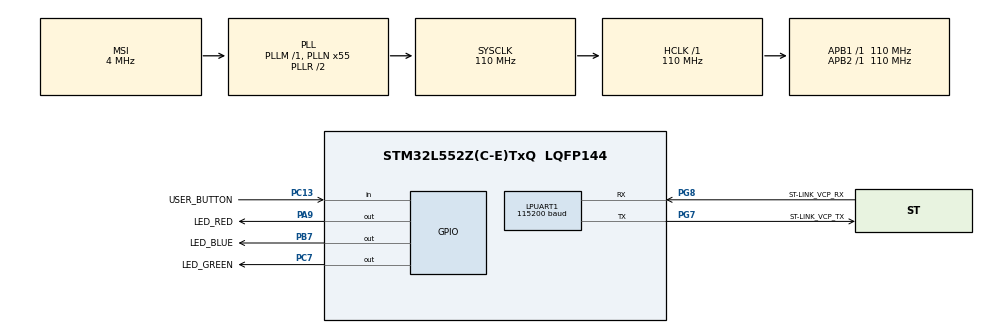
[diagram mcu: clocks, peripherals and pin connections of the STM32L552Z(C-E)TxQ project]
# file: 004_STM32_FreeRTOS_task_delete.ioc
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LPUART1.BaudRate=115200
Mcu.Family=STM32L5
Mcu.Name=STM32L552Z(C-E)TxQ
Mcu.Package=LQFP144
Mcu.TrustZone=disable
NVIC.PriorityGroup=NVIC_PRIORITYGROUP_3
PA13\ (JTMS/SWDIO).Mode=Trace_Asynchronous_SW
PA13\ (JTMS/SWDIO).Signal=DEBUG_JTMS-SWDIO
PA14\ (JTCK/SWCLK).Mode=Trace_Asynchronous_SW
PA14\ (JTCK/SWCLK).Signal=DEBUG_JTCK-SWCLK
PA9.GPIO_Label=LED_RED
PA9.Signal=GPIO_Output
PB3\ (JTDO/TRACESWO).Mode=Trace_Asynchronous_SW
PB3\ (JTDO/TRACESWO).Signal=DEBUG_JTDO-SWO
PB7.GPIO_Label=LED_BLUE
PB7.Signal=GPIO_Output
PC13.GPIO_Label=USER_BUTTON
PC13.Signal=GPIO_Input
PC14-OSC32_IN\ (PC14).Mode=LSE-External-Oscillator
PC14-OSC32_IN\ (PC14).Signal=RCC_OSC32_IN
PC15-OSC32_OUT\ (PC15).Mode=LSE-External-Oscillator
PC15-OSC32_OUT\ (PC15).Signal=RCC_OSC32_OUT
PC7.GPIO_Label=LED_GREEN
PC7.PinState=GPIO_PIN_RESET
PC7.Signal=GPIO_Output
PG7.GPIO_Label=ST-LINK_VCP_TX
PG7.Mode=Asynchronous
PG7.Signal=LPUART1_TX
PG8.GPIO_Label=ST-LINK_VCP_RX
PG8.Mode=Asynchronous
PG8.Signal=LPUART1_RX
ProjectManager.HeapSize=0x200
ProjectManager.StackSize=0x400
ProjectManager.TargetToolchain=STM32CubeIDE
RCC.ADCCLockSelection=RCC_ADCCLKSOURCE_SYSCLK
RCC.ADCFreq_Value=110000000
RCC.AHBFreq_Value=110000000
RCC.APB1Freq_Value=110000000
RCC.APB1TimFreq_Value=110000000
RCC.APB2Freq_Value=110000000
RCC.APB2TimFreq_Value=110000000
RCC.CK48CLockSelection=RCC_USBCLKSOURCE_HSI48
RCC.CortexFreq_Value=110000000
RCC.HCLKFreq_Value=110000000
RCC.HSE_VALUE=8000000
RCC.HSI48_VALUE=48000000
RCC.HSI_VALUE=16000000
RCC.MSI_VALUE=4000000
RCC.PLLN=55
RCC.PLLSAI1N=24
RCC.RTCClockSelection=RCC_RTCCLKSOURCE_LSE
RCC.SYSCLKFreq_VALUE=110000000
RCC.SYSCLKSource=RCC_SYSCLKSOURCE_PLLCLK
RCC.USBFreq_Value=48000000
RCC.VCOOutputFreq_Value=220000000
VP_PWR_VS_SECSignals.Mode=Security/Privilege
board=NUCLEO-L552ZE-Q

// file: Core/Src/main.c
/* USER CODE BEGIN Header */
/**
 ******************************************************************************
 * @file           : main.c
 * @brief          : Example 004: Deleting task in FreeRTOs for NUCLEO-L552.
 *
 * @details TODO
 ******************************************************************************
 * @attention
 *
 * <h2><center>&copy; Copyright 2021 Leandro Medus.
 * All rights reserved.</center></h2>
 *
 * Permission is hereby granted, free of charge, to any person obtaining a copy
 * of this software and associated documentation files (the "Software"), to deal
 * in the Software without restriction, including without limitation the rights
 * to use, copy, modify, merge, publish, distribute, sublicense, and/or sell
 * copies of the Software, and to permit persons to whom the Software is
 * furnished to do so, subject to the following conditions:
 *
 * The above copyright notice and this permission notice shall be included in all
 * copies or substantial portions of the Software.
 *
 * THE SOFTWARE IS PROVIDED "AS IS", WITHOUT WARRANTY OF ANY KIND, EXPRESS OR
 * IMPLIED, INCLUDING BUT NOT LIMITED TO THE WARRANTIES OF MERCHANTABILITY,
 * FITNESS FOR A PARTICULAR PURPOSE AND NONINFRINGEMENT. IN NO EVENT SHALL THE
 * AUTHORS OR COPYRIGHT HOLDERS BE LIABLE FOR ANY CLAIM, DAMAGES OR OTHER
 * LIABILITY, WHETHER IN AN ACTION OF CONTRACT, TORT OR OTHERWISE, ARISING FROM,
 * OUT OF OR IN CONNECTION WITH THE SOFTWARE OR THE USE OR OTHER DEALINGS IN THE
 * SOFTWARE.
 *
 ******************************************************************************
 */

/*
 * Other useful functions:
 *
 *      SEGGER_SYSVIEW_PrintfTarget("Task-1 is yielding");
 *      snprintf(msg, 100, "%s\n", (char*)parameters);
 *      sendString(msg);
 *      traceISR_EXIT_TO_SCHEDULER();
 *      taskYIELD();

 * */

/* USER CODE END Header */
#include "main.h"

/* USER CODE BEGIN Includes */
#include "FreeRTOS.h"
#include "task.h"
#include <stdio.h>
#include <string.h>

#include <stdbool.h>
/* USER CODE END Includes */

/* USER CODE BEGIN PTD */
//#define TRUE                1
//#define FALSE               0

#define AVAILABLE           true
#define NOT_AVAILABLE       false

#define PRESSED             true
#define NOT_PRESSED         false

#define DEBOUNCE_DELAY_MS   10

#define DWT_CTRL    (*(volatile uint32_t*)0xE0001000)       /* Data Watchpoint and Trace Unit */
/* USER CODE END PTD */

UART_HandleTypeDef hlpuart1;

/* USER CODE BEGIN PV */
TaskHandle_t xTask_led_handle;
char usr_msg[250];
uint8_t UART_ACCESS_KEY = AVAILABLE;

uint8_t button_status_flag = NOT_PRESSED;
/* USER CODE END PV */

void SystemClock_Config(void);
static void MX_GPIO_Init(void);
static void MX_LPUART1_UART_Init(void);
/* USER CODE BEGIN PFP */
void sendString(char *msg);
void rtos_delay_ms(uint32_t delay_in_ms);
void rtos_delay_us(uint32_t delay_in_us);

static void vtask_1_handler(void* parameters);
static void vtask_2_handler(void* parameters);
/* USER CODE END PFP */

int main(void)
{
  /* USER CODE BEGIN 1 */
    BaseType_t status;

    char msg_program_init [] = "[info] ---- Example 004: Deleting task in FreeRTOs ----\r\n";

  /* USER CODE END 1 */

  /* MCU Configuration--------------------------------------------------------*/

  /* Reset of all peripherals, Initializes the Flash interface and the Systick. */
  HAL_Init();

  /* Configure the system clock */
  SystemClock_Config();

  /* Initialize all configured peripherals */
  MX_GPIO_Init();
  MX_LPUART1_UART_Init();
  /* USER CODE BEGIN 2 */

    DWT_CTRL |= ( 1 << 0);                  //Enable the CYCCNT counter. (to maintain time stamps in Segger)

    sendString(msg_program_init);

    SEGGER_SYSVIEW_Conf();

    SEGGER_SYSVIEW_Start();                 // Start recording with SEGGER

    status = xTaskCreate(
            vtask_1_handler,               // name of the task handler
            "TASK-1",                     // descriptive name. (Could be NULL)
            configMINIMAL_STACK_SIZE,       // stack space ([words] = 4*words [bytes])
            "LED-Task [info]",              // pvParameters
            1,                              // priority of the task
            &xTask_led_handle);             // handler to the TCB (task controller block)

    configASSERT(status == pdPASS);

    status = xTaskCreate(
            vtask_2_handler,
            "TASK-2",
            configMINIMAL_STACK_SIZE,
            "BUTTON-Task [info]",
            2,
            NULL);

    configASSERT(status == pdPASS);

    vTaskStartScheduler();                  // start the freeRTOS scheduler
  /* USER CODE END 2 */

  /* Infinite loop */
    while (1)
    {

    }
}

void SystemClock_Config(void)
{
  RCC_OscInitTypeDef RCC_OscInitStruct = {0};
  RCC_ClkInitTypeDef RCC_ClkInitStruct = {0};

  /** Configure the main internal regulator output voltage
  */
  if (HAL_PWREx_ControlVoltageScaling(PWR_REGULATOR_VOLTAGE_SCALE0) != HAL_OK)
  {
    Error_Handler();
  }
  /** Initializes the RCC Oscillators according to the specified parameters
  * in the RCC_OscInitTypeDef structure.
  */
  RCC_OscInitStruct.OscillatorType = RCC_OSCILLATORTYPE_MSI;
  RCC_OscInitStruct.MSIState = RCC_MSI_ON;
  RCC_OscInitStruct.MSICalibrationValue = RCC_MSICALIBRATION_DEFAULT;
  RCC_OscInitStruct.MSIClockRange = RCC_MSIRANGE_6;
  RCC_OscInitStruct.PLL.PLLState = RCC_PLL_ON;
  RCC_OscInitStruct.PLL.PLLSource = RCC_PLLSOURCE_MSI;
  RCC_OscInitStruct.PLL.PLLM = 1;
  RCC_OscInitStruct.PLL.PLLN = 55;
  RCC_OscInitStruct.PLL.PLLP = RCC_PLLP_DIV7;
  RCC_OscInitStruct.PLL.PLLQ = RCC_PLLQ_DIV2;
  RCC_OscInitStruct.PLL.PLLR = RCC_PLLR_DIV2;
  if (HAL_RCC_OscConfig(&RCC_OscInitStruct) != HAL_OK)
  {
    Error_Handler();
  }
  /** Initializes the CPU, AHB and APB buses clocks
  */
  RCC_ClkInitStruct.ClockType = RCC_CLOCKTYPE_HCLK|RCC_CLOCKTYPE_SYSCLK
                              |RCC_CLOCKTYPE_PCLK1|RCC_CLOCKTYPE_PCLK2;
  RCC_ClkInitStruct.SYSCLKSource = RCC_SYSCLKSOURCE_PLLCLK;
  RCC_ClkInitStruct.AHBCLKDivider = RCC_SYSCLK_DIV1;
  RCC_ClkInitStruct.APB1CLKDivider = RCC_HCLK_DIV1;
  RCC_ClkInitStruct.APB2CLKDivider = RCC_HCLK_DIV1;

  if (HAL_RCC_ClockConfig(&RCC_ClkInitStruct, FLASH_LATENCY_5) != HAL_OK)
  {
    Error_Handler();
  }
}

static void MX_LPUART1_UART_Init(void)
{

  hlpuart1.Instance = LPUART1;
  hlpuart1.Init.BaudRate = 115200;
  hlpuart1.Init.WordLength = UART_WORDLENGTH_8B;
  hlpuart1.Init.StopBits = UART_STOPBITS_1;
  hlpuart1.Init.Parity = UART_PARITY_NONE;
  hlpuart1.Init.Mode = UART_MODE_TX_RX;
  hlpuart1.Init.HwFlowCtl = UART_HWCONTROL_NONE;
  hlpuart1.Init.OneBitSampling = UART_ONE_BIT_SAMPLE_DISABLE;
  hlpuart1.Init.ClockPrescaler = UART_PRESCALER_DIV1;
  hlpuart1.AdvancedInit.AdvFeatureInit = UART_ADVFEATURE_NO_INIT;
  hlpuart1.FifoMode = UART_FIFOMODE_DISABLE;
  if (HAL_UART_Init(&hlpuart1) != HAL_OK)
  {
    Error_Handler();
  }
  if (HAL_UARTEx_SetTxFifoThreshold(&hlpuart1, UART_TXFIFO_THRESHOLD_1_8) != HAL_OK)
  {
    Error_Handler();
  }
  if (HAL_UARTEx_SetRxFifoThreshold(&hlpuart1, UART_RXFIFO_THRESHOLD_1_8) != HAL_OK)
  {
    Error_Handler();
  }
  if (HAL_UARTEx_DisableFifoMode(&hlpuart1) != HAL_OK)
  {
    Error_Handler();
  }

}

static void MX_GPIO_Init(void)
{
  GPIO_InitTypeDef GPIO_InitStruct = {0};

  /* GPIO Ports Clock Enable */
  __HAL_RCC_GPIOC_CLK_ENABLE();
  __HAL_RCC_GPIOG_CLK_ENABLE();
  HAL_PWREx_EnableVddIO2();
  __HAL_RCC_GPIOA_CLK_ENABLE();
  __HAL_RCC_GPIOB_CLK_ENABLE();

  /*Configure GPIO pin Output Level */
  HAL_GPIO_WritePin(LED_GREEN_GPIO_Port, LED_GREEN_Pin, GPIO_PIN_RESET);

  /*Configure GPIO pin Output Level */
  HAL_GPIO_WritePin(LED_RED_GPIO_Port, LED_RED_Pin, GPIO_PIN_RESET);

  /*Configure GPIO pin Output Level */
  HAL_GPIO_WritePin(LED_BLUE_GPIO_Port, LED_BLUE_Pin, GPIO_PIN_RESET);

  /*Configure GPIO pin : USER_BUTTON_Pin */
  GPIO_InitStruct.Pin = USER_BUTTON_Pin;
  GPIO_InitStruct.Mode = GPIO_MODE_INPUT;
  GPIO_InitStruct.Pull = GPIO_NOPULL;
  HAL_GPIO_Init(USER_BUTTON_GPIO_Port, &GPIO_InitStruct);

  /*Configure GPIO pin : LED_GREEN_Pin */
  GPIO_InitStruct.Pin = LED_GREEN_Pin;
  GPIO_InitStruct.Mode = GPIO_MODE_OUTPUT_PP;
  GPIO_InitStruct.Pull = GPIO_NOPULL;
  GPIO_InitStruct.Speed = GPIO_SPEED_FREQ_LOW;
  HAL_GPIO_Init(LED_GREEN_GPIO_Port, &GPIO_InitStruct);

  /*Configure GPIO pin : LED_RED_Pin */
  GPIO_InitStruct.Pin = LED_RED_Pin;
  GPIO_InitStruct.Mode = GPIO_MODE_OUTPUT_PP;
  GPIO_InitStruct.Pull = GPIO_NOPULL;
  GPIO_InitStruct.Speed = GPIO_SPEED_FREQ_LOW;
  HAL_GPIO_Init(LED_RED_GPIO_Port, &GPIO_InitStruct);

  /*Configure GPIO pin : LED_BLUE_Pin */
  GPIO_InitStruct.Pin = LED_BLUE_Pin;
  GPIO_InitStruct.Mode = GPIO_MODE_OUTPUT_PP;
  GPIO_InitStruct.Pull = GPIO_NOPULL;
  GPIO_InitStruct.Speed = GPIO_SPEED_FREQ_LOW;
  HAL_GPIO_Init(LED_BLUE_GPIO_Port, &GPIO_InitStruct);

}

/* USER CODE BEGIN 4 */

/* --------------------------------------------------------------------------*/

/**
 * @brief  This function send a string using the UART
 * @retval None
 */
void sendString(char *msg)
{
    sprintf(usr_msg, msg);

    // sending a string
    HAL_UART_Transmit(&hlpuart1, (uint8_t *) usr_msg, strlen(usr_msg), 100);
}

/**
 * @brief  FreeRTOS task: Task-1 (blink 2 Hz)
 * @details Task-1 toggles led state every 250 ms.
 *
 * @retval None
 */
static void vtask_1_handler(void* parameters)
{

    sprintf(usr_msg,"Task-1 is running.\r\n");
    sendString(usr_msg);

    while(1)
    {
//        rtos_delay_ms(250);
        vTaskDelay(250);
        HAL_GPIO_TogglePin(LED_GREEN_GPIO_Port, LED_GREEN_Pin);
    }
}

/**
 * @brief  FreeRTOS task: Task-1 (blink 1 Hz)
 * @details Task-1 toggles led state every 500 ms.
 *
 * @retval None
 */
static void vtask_2_handler(void* parameters)
{
    sprintf(usr_msg,"Task-2 is running.\r\n");
    sendString(usr_msg);

    while(1)
    {
        if(HAL_GPIO_ReadPin(USER_BUTTON_GPIO_Port, USER_BUTTON_Pin) == GPIO_PIN_SET)
        {
            // button is pressed
            sprintf(usr_msg,"Task-2 is getting deleted.\r\n");
            sendString(usr_msg);

            vTaskDelete(NULL);

        }else
        {
            // button is  not pressed
            rtos_delay_ms(500);         // blocking
            // vTaskDelay(500);         // non-blocking
            HAL_GPIO_TogglePin(LED_GREEN_GPIO_Port, LED_GREEN_Pin);
        }

    }
}

void rtos_delay_ms(uint32_t delay_in_ms)
{
    uint32_t current_tick_count = xTaskGetTickCount();

    uint32_t delay_in_ticks = (delay_in_ms * configTICK_RATE_HZ ) /1000 ;

    while(xTaskGetTickCount() <  (current_tick_count + delay_in_ticks));

}

void rtos_delay_us(uint32_t delay_in_us)
{
    uint32_t current_tick_count = xTaskGetTickCount();

    uint32_t delay_in_ticks = (delay_in_us * configTICK_RATE_HZ ) ;

    while(xTaskGetTickCount() <  (current_tick_count + delay_in_ticks));

}

/* --------------------------------------------------------------------------*/
/* USER CODE END 4 */

void Error_Handler(void)
{
    __disable_irq();
    while (1)
    {
    }
}

/************************ (C) COPYRIGHT STMicroelectronics *****END OF FILE****/
